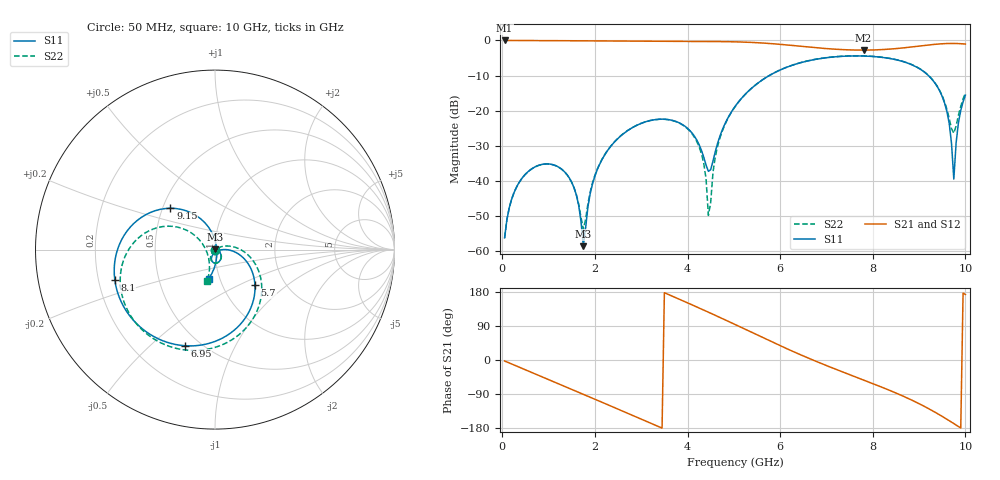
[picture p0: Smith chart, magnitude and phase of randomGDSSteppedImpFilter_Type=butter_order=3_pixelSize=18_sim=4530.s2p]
! freq	dB(S11)	phase(S11)	dB(S12)	phase(S12)
!  dB(S21)	phase(S21)	dB(S22)	phase(S22)
!S-par simulation data
#  GHz  S  DB  R 50
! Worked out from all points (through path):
!   200 points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, 50 MHz to 10 GHz, reference 50 ohm
!   highest |S21| = -0.01 dB at 50 MHz (marker M1); lowest = -2.8 dB at 7.8 GHz (marker M2)
!   group delay of S21, straight-line fit = 149 ps
!   lowest |S11| = -58.6 dB at 1.75 GHz (marker M3), VSWR 1.00, Z = 50 + j0.113 ohm
!   |S11| at or under -10 dB: start of sweep to 5.766 GHz; 9.201 GHz to end of sweep
!   |S22| runs from -56.3 to -4.4 dB; largest |S21 - S12| = 0
!   S11 on the Smith chart (normalised r, x): 50 MHz: 1.00, -0.00; 5.7 GHz: 1.42, -0.61; 6.95 GHz: 0.41, -0.65; 8.1 GHz: 0.27, -0.14; 9.15 GHz: 0.55, +0.29; 10 GHz: 0.89, -0.30
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0.05  -56.25 -73.6  -0.01 -2.6  -0.01 -2.6  -56.25 -73.7
0.35  -40.76 -106.0  -0.03 -18.2  -0.03 -18.2  -40.77 -106.3
1  -35.19 -142.9  -0.06 -51.7  -0.06 -51.7  -35.21 -144.0
1.55  -42.01 -176.8  -0.09 -80.2  -0.09 -80.2  -41.97 177.7
1.75  -58.61 106.1  -0.10 -90.5  -0.10 -90.5  -53.82 96.1
2.2  -32.86 -21.0  -0.13 -114.0  -0.13 -114.0  -32.78 -17.6
3.4  -22.44 -84.3  -0.25 -177.1  -0.25 -177.1  -22.45 -84.4
4.2  -28.38 -114.7  -0.29 140.0  -0.29 140.0  -28.80 -126.4
4.45  -37.29 -69.8  -0.30 126.2  -0.30 126.2  -49.84 -126.0
4.65  -29.27 -2.5  -0.32 115.1  -0.32 115.1  -30.08 26.3
5.05  -18.38 -8.3  -0.41 92.3  -0.41 92.3  -18.43 5.0
5.7  -10.52 -41.6  -0.80 54.9  -0.80 54.9  -10.51 -31.6
6.7  -5.55 -95.0  -1.99 0.3  -1.99 0.3  -5.52 -84.9
6.95  -5.01 -107.6  -2.27 -12.2  -2.27 -12.2  -4.98 -97.1
7.8  -4.44 -148.5  -2.76 -52.8  -2.76 -52.8  -4.41 -136.1
8.1  -4.68 -163.1  -2.67 -67.1  -2.67 -67.1  -4.64 -149.6
8.35  -5.11 -175.7  -2.49 -79.4  -2.49 -79.4  -5.07 -161.1
9.15  -9.39 137.2  -1.38 -124.7  -1.38 -124.7  -9.35 158.8
9.6  -20.21 100.5  -0.88 -156.3  -0.88 -156.3  -19.58 147.6
9.75  -39.51 4.1  -0.86 -167.7  -0.86 -167.7  -26.44 -154.8
9.85  -23.41 -85.1  -0.89 -175.5  -0.89 -175.5  -21.32 -111.0
10  -15.59 -102.2  -1.04 172.8  -1.04 172.8  -15.00 -104.2
